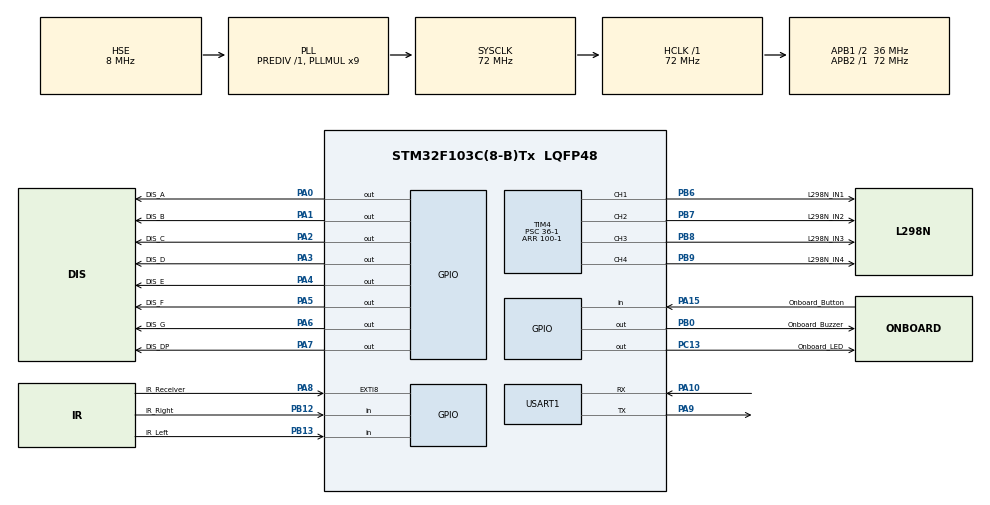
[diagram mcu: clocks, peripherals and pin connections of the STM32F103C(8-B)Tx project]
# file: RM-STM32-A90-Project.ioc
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Mcu.Family=STM32F1
Mcu.Name=STM32F103C(8-B)Tx
Mcu.Package=LQFP48
NVIC.EXTI9_5_IRQn=true\:0\:0\:false\:false\:true\:true\:true\:true
NVIC.PriorityGroup=NVIC_PRIORITYGROUP_4
PA0-WKUP.GPIO_Label=DIS_A
PA0-WKUP.PinState=GPIO_PIN_SET
PA0-WKUP.Signal=GPIO_Output
PA1.GPIO_Label=DIS_B
PA1.PinState=GPIO_PIN_SET
PA1.Signal=GPIO_Output
PA10.Mode=Asynchronous
PA10.Signal=USART1_RX
PA13.Mode=Serial_Wire
PA13.Signal=SYS_JTMS-SWDIO
PA14.Mode=Serial_Wire
PA14.Signal=SYS_JTCK-SWCLK
PA15.GPIO_Label=Onboard_Button
PA15.GPIO_PuPd=GPIO_PULLUP
PA15.Signal=GPIO_Input
PA2.GPIO_Label=DIS_C
PA2.PinState=GPIO_PIN_SET
PA2.Signal=GPIO_Output
PA3.GPIO_Label=DIS_D
PA3.PinState=GPIO_PIN_SET
PA3.Signal=GPIO_Output
PA4.GPIO_Label=DIS_E
PA4.PinState=GPIO_PIN_SET
PA4.Signal=GPIO_Output
PA5.GPIO_Label=DIS_F
PA5.PinState=GPIO_PIN_SET
PA5.Signal=GPIO_Output
PA6.GPIO_Label=DIS_G
PA6.PinState=GPIO_PIN_SET
PA6.Signal=GPIO_Output
PA7.GPIO_Label=DIS_DP
PA7.PinState=GPIO_PIN_SET
PA7.Signal=GPIO_Output
PA8.GPIO_Label=IR_Receiver
PA8.GPIO_ModeDefaultEXTI=GPIO_MODE_IT_RISING_FALLING
PA8.GPIO_PuPd=GPIO_PULLUP
PA8.Signal=GPXTI8
PA9.Mode=Asynchronous
PA9.Signal=USART1_TX
PB0.GPIO_Label=Onboard_Buzzer
PB0.PinState=GPIO_PIN_RESET
PB0.Signal=GPIO_Output
PB12.GPIO_Label=IR_Right
PB12.Signal=GPIO_Input
PB13.GPIO_Label=IR_Left
PB13.Signal=GPIO_Input
PB6.GPIO_Label=L298N_IN1
PB6.Signal=S_TIM4_CH1
PB7.GPIO_Label=L298N_IN2
PB7.Signal=S_TIM4_CH2
PB8.GPIO_Label=L298N_IN3
PB8.Signal=S_TIM4_CH3
PB9.GPIO_Label=L298N_IN4
PB9.Signal=S_TIM4_CH4
PC13-TAMPER-RTC.GPIO_Label=Onboard_LED
PC13-TAMPER-RTC.Signal=GPIO_Output
PD0-OSC_IN.Mode=HSE-External-Oscillator
PD0-OSC_IN.Signal=RCC_OSC_IN
PD1-OSC_OUT.Mode=HSE-External-Oscillator
PD1-OSC_OUT.Signal=RCC_OSC_OUT
ProjectManager.HeapSize=0x200
ProjectManager.StackSize=0x400
ProjectManager.TargetToolchain=STM32CubeIDE
RCC.AHBFreq_Value=72000000
RCC.APB1CLKDivider=RCC_HCLK_DIV2
RCC.APB1Freq_Value=36000000
RCC.APB1TimFreq_Value=72000000
RCC.APB2Freq_Value=72000000
RCC.APB2TimFreq_Value=72000000
RCC.HCLKFreq_Value=72000000
RCC.PLLMUL=RCC_PLL_MUL9
RCC.PLLSourceVirtual=RCC_PLLSOURCE_HSE
RCC.SYSCLKFreq_VALUE=72000000
RCC.SYSCLKSource=RCC_SYSCLKSOURCE_PLLCLK
RCC.USBFreq_Value=72000000
SH.S_TIM4_CH1.0=TIM4_CH1,PWM Generation1 CH1
SH.S_TIM4_CH2.0=TIM4_CH2,PWM Generation2 CH2
SH.S_TIM4_CH3.0=TIM4_CH3,PWM Generation3 CH3
SH.S_TIM4_CH4.0=TIM4_CH4,PWM Generation4 CH4
TIM2.Prescaler=72-1
TIM4.AutoReloadPreload=TIM_AUTORELOAD_PRELOAD_ENABLE
TIM4.Channel-PWM\ Generation1\ CH1=TIM_CHANNEL_1
TIM4.Channel-PWM\ Generation2\ CH2=TIM_CHANNEL_2
TIM4.Channel-PWM\ Generation3\ CH3=TIM_CHANNEL_3
TIM4.Channel-PWM\ Generation4\ CH4=TIM_CHANNEL_4
TIM4.Period=100-1
TIM4.Prescaler=36-1
USART1.VirtualMode=VM_ASYNC
VP_TIM2_VS_ClockSourceINT.Mode=Internal
board=custom

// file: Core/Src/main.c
/* USER CODE BEGIN Header */
/**
  ******************************************************************************
  * @file           : main.c
  * @brief          : RoboMaster User Code for Trial Run
  ******************************************************************************
  */
/* USER CODE END Header */
#include "main.h"
#include "tim.h"
#include "usart.h"
#include "gpio.h"

/* USER CODE BEGIN Includes */
#include <stdio.h>
#include "ir_nec.h"
/* USER CODE END Includes */

/* USER CODE BEGIN PTD */
// IR Remote State Definition
typedef enum
{
    MODE_LINE = 1,
    MODE_REMOTE,
    MODE_STOP
} ControlMode_t;

// Default for emergency_stop, stop when powerup
static ControlMode_t mode = MODE_STOP;
static uint8_t emergency_stop = 1;
/* USER CODE END PTD */

/* USER CODE BEGIN PD */
// IR Remote Code Definition
// Model: CMCC Smart Controller (universal)
#define IR_KEY_POWER   0x44BB3BC4UL
#define IR_KEY_MENU    0x44BB41BEUL
#define IR_KEY_LEFT    0x44BB9966UL
#define IR_KEY_UP      0x44BB53ACUL
#define IR_KEY_RIGHT   0x44BB837CUL
#define IR_KEY_ENTER   0x44BB738CUL
#define IR_KEY_DOWN    0x44BB4BB4UL
#define IR_KEY_1       0x44BB49B6UL
#define IR_KEY_2       0x44BBC936UL
#define IR_KEY_3       0x44BB33CCUL
/* USER CODE END PD */

/* USER CODE BEGIN PV */

/* 共阳数码管段码
 * Note: 这里起初按照项目要求设置了0~9，且奇数数字有右下角亮点，后续为调试增加至F */
static const uint8_t seg_table[16] =
{
    0xC0, // 0
    0xF9, // 1
    0xA4, // 2
    0xB0, // 3
    0x99, // 4
    0x92, // 5
    0x82, // 6
    0xF8, // 7
    0x80, // 8
    0x90, // 9
    0x88, // A
    0x83, // b
    0xC6, // C
    0xA1, // d
    0x86, // E
    0x8E, // F
};

/* 遥控安全超时：超过此时间没有收到红外信号就停车，单位毫秒 */
#define REMOTE_TIMEOUT_MS 200

static uint32_t remote_last_time = 0;
/* USER CODE END PV */

void SystemClock_Config(void);
/* USER CODE BEGIN PFP */
static void Motor_SetSpeed(int16_t right, int16_t left);
static void Line_Follow(void);
static void SEG_Display(uint8_t num);
/* USER CODE END PFP */

/* USER CODE BEGIN 0 */

/**
 * @brief 设置数码管显示
 */
static void SEG_Display(uint8_t num)
{
    if (num > 15)
        return;

    /* 共阳数码管：先全部熄灭 */
    HAL_GPIO_WritePin(
        GPIOA,
        GPIO_PIN_0 | GPIO_PIN_1 | GPIO_PIN_2 | GPIO_PIN_3 |
        GPIO_PIN_4 | GPIO_PIN_5 | GPIO_PIN_6 | GPIO_PIN_7,
        GPIO_PIN_SET
    );

    /* 点亮对应段 */
    uint8_t data = seg_table[num];

    for (uint8_t i = 0; i < 8; i++)
    {
        if (!(data & (1U << i)))
        {
            HAL_GPIO_WritePin(
                GPIOA,
                (GPIO_PIN_0 << i),
                GPIO_PIN_RESET
            );
        }
    }
}

/**
 * @brief 蜂鸣器开
 */
static void BUZZER_ON(void)
{
    HAL_GPIO_WritePin(
        Onboard_Buzzer_GPIO_Port,
        Onboard_Buzzer_Pin,
        GPIO_PIN_SET
    );
}

/**
 * @brief 蜂鸣器关
 */
static void BUZZER_OFF(void)
{
    HAL_GPIO_WritePin(
        Onboard_Buzzer_GPIO_Port,
        Onboard_Buzzer_Pin,
        GPIO_PIN_RESET
    );
}

/**
 * @brief 设置左右电机速度
 *
 * @param right 右轮速度，范围 -99 ~ 99
 * @param left  左轮速度，范围 -99 ~ 99
 *
 * 正值：正转
 * 负值：反转
 * 0：停止
 */
static void Motor_SetSpeed(int16_t right, int16_t left)
{
    /* 限制速度范围 */
    // Add by ChatGPT
    if (right > 99) right = 99;
    if (right < -99) right = -99;
    if (left > 99) left = 99;
    if (left < -99) left = -99;

    /* 右轮：TIM4 CH1 / CH2 */
    if (right >= 0)
    {
        __HAL_TIM_SET_COMPARE(&htim4, TIM_CHANNEL_1, right);
        __HAL_TIM_SET_COMPARE(&htim4, TIM_CHANNEL_2, 0);
    }
    else
    {
        __HAL_TIM_SET_COMPARE(&htim4, TIM_CHANNEL_1, 0);
        __HAL_TIM_SET_COMPARE(&htim4, TIM_CHANNEL_2, -right);
    }

    /* 左轮：TIM4 CH3 / CH4 */
    if (left >= 0)
    {
        __HAL_TIM_SET_COMPARE(&htim4, TIM_CHANNEL_3, left);
        __HAL_TIM_SET_COMPARE(&htim4, TIM_CHANNEL_4, 0);
    }
    else
    {
        __HAL_TIM_SET_COMPARE(&htim4, TIM_CHANNEL_3, 0);
        __HAL_TIM_SET_COMPARE(&htim4, TIM_CHANNEL_4, -left);
    }
}

/**
 * @brief 巡线控制
 *
 * 传感器逻辑：
 *   0 = 白
 *   1 = 黑
 *
 *       左 右
 * 白白  → 直行
 * 黑白  → 左转
 * 白黑  → 右转
 * 黑黑  → 保持当前状态
 * Note: 其实这里应该继续微调，但是现在先这样吧，14500坏了导致输出电压不稳，电机速度接着不稳，此时调整没意义
 */
static void Line_Follow(void)
{
    uint8_t left_black =
        (HAL_GPIO_ReadPin(IR_Left_GPIO_Port, IR_Left_Pin) == GPIO_PIN_SET);

    uint8_t right_black =
        (HAL_GPIO_ReadPin(IR_Right_GPIO_Port, IR_Right_Pin) == GPIO_PIN_SET);

    if (!left_black && !right_black)
    {
        /* 白白：直行 */
        BUZZER_OFF();
        SEG_Display(10); // A
        Motor_SetSpeed(60, 60);
    }
    else if (left_black && !right_black)
    {
        /* 黑白：向左修正 */
        BUZZER_ON();
        SEG_Display(11); // b
        Motor_SetSpeed(50, -20);
    }
    else if (!left_black && right_black)
    {
        /* 白黑：向右修正 */
        BUZZER_ON();
        SEG_Display(12); // C
        Motor_SetSpeed(-20, 50);
    }
    else
    {
        /* 黑黑：可能脱圈，尝试旋转寻回*测试* */
        BUZZER_OFF();
        SEG_Display(15); // F
        Motor_SetSpeed(50, -20);
    }
}

/**
 * @brief 红外中断响应回传
 *
 */
void HAL_GPIO_EXTI_Callback(uint16_t GPIO_Pin)
{
    if (GPIO_Pin == IR_PIN)
    {
        IR_HandleEXTI();
    }
}

/**
 * @brief 处理遥控器运动按键
 *
 * 每次收到方向键时刷新 remote_last_time。
 * 如果遥控器停止发送，主循环中的超时检测会自动停车。
 */
static void Remote_Move(int16_t right, int16_t left, uint8_t display)
{
    Motor_SetSpeed(right, left);
    SEG_Display(display);

    /* 收到有效运动指令，刷新遥控安全计时器 */
    remote_last_time = HAL_GetTick();
}

/** * @brief 红外接收帧处理 */
static void IR_ProcessKey(uint32_t key)
{
    static uint32_t last_power_time = 0;
    uint32_t now = HAL_GetTick();
    /* ========================= * 电源键：全局急停 * ========================= */
    if (key == IR_KEY_POWER)
    {
        // Take a static variable to handle special power button hit
        if (now - last_power_time < 250)
        {
            return; // long-press, ignore
        }
        last_power_time = now; // update tick
        // 切换状态值
        emergency_stop = !emergency_stop;
        if (emergency_stop)
        {
            /* 进入急停 */
            BUZZER_OFF();
            Motor_SetSpeed(0, 0);
            SEG_Display(13);
        }
        else
        {
            /* 解除急停，但不自动恢复运动 */
            Motor_SetSpeed(0, 0);
            remote_last_time = HAL_GetTick();
        }
        return;
    } /* 急停时屏蔽其他按键 */
    if (emergency_stop) return;
    /* ========================= * 模式选择 * ========================= */
    switch (key)
    {
    case IR_KEY_1: mode = MODE_LINE;
        Motor_SetSpeed(0, 0);
        SEG_Display(1);
        break;
    case IR_KEY_2: mode = MODE_REMOTE;
        BUZZER_OFF();
        Motor_SetSpeed(0, 0); /* 切换到遥控模式后，从停车状态开始计时 */
        remote_last_time = HAL_GetTick();
        SEG_Display(2);
        break;
    case IR_KEY_3: mode = MODE_STOP;
        BUZZER_OFF();
        Motor_SetSpeed(0, 0);
        SEG_Display(0);
        break;
    /* ========================= * 遥控运动 * =========================
     * 通过封装Remote_Move简化代码结构，参数分别为(左轮功率，右轮功率，段码显示 */
    case IR_KEY_UP: if (mode == MODE_REMOTE) { Remote_Move(80, 80, 8); }
        break;
    case IR_KEY_DOWN: if (mode == MODE_REMOTE) { Remote_Move(-80, -80, 6); }
        break;
    case IR_KEY_LEFT: if (mode == MODE_REMOTE) { Remote_Move(80, -80, 7); }
        break;
    case IR_KEY_RIGHT: if (mode == MODE_REMOTE) { Remote_Move(-80, 80, 9); }
        break;
    case IR_KEY_ENTER: if (mode == MODE_REMOTE) { Remote_Move(0, 0, 14); }
        break;
    /* ========================= * 测试功能 * ========================= */
    case IR_KEY_MENU: BUZZER_ON();
        HAL_Delay(50);
        BUZZER_OFF();
        break;
    default: break;
    }
}

//Status 0 For Display Self Test
static void SEG_SelfTest(void)
{
    static uint32_t last_tick = 0;
    static uint8_t digit = 0;

    if (HAL_GetTick() - last_tick >= 200)
    {
        last_tick = HAL_GetTick();

        SEG_Display(digit);

        digit++;

        if (digit > 15)
            digit = 0;
    }
}

/* USER CODE END 0 */

int main(void)
{

    /* MCU Configuration--------------------------------------------------------*/

    /* Reset of all peripherals, Initializes the Flash interface and the Systick. */
    HAL_Init();

    /* Configure the system clock */
    SystemClock_Config();

    /* Initialize all configured peripherals */
    MX_GPIO_Init();
    MX_TIM4_Init();
    MX_TIM2_Init();
    MX_USART1_UART_Init();
    /* USER CODE BEGIN 2 */
    IR_Init();
    // Already init TIM2 in IR_Init(), ignore.
    //HAL_TIM_Base_Start(&htim2);

    /* 启动 L298N PWM */
    HAL_TIM_PWM_Start(&htim4, TIM_CHANNEL_1);
    HAL_TIM_PWM_Start(&htim4, TIM_CHANNEL_2);
    HAL_TIM_PWM_Start(&htim4, TIM_CHANNEL_3);
    HAL_TIM_PWM_Start(&htim4, TIM_CHANNEL_4);

    /* 初始停止 */
    Motor_SetSpeed(0, 0);
    SEG_Display(13); // d
    /* USER CODE END 2 */

    /* Infinite loop */
    /* USER CODE BEGIN WHILE */
    while (1)
    {
        uint32_t key = IR_GetRawData();

        if (key != 0)
        {
            IR_ProcessKey(key);
            IR_ClearResult();
        }

        if (!emergency_stop)
        {
            switch (mode)
            {
            case MODE_LINE:
                Line_Follow();
                break;

            case MODE_REMOTE:
                /*
                 * 遥控安全超时
                 *
                 * 如果超过 REMOTE_TIMEOUT_MS 没有收到新的
                 * 遥控运动指令，则自动停车。
                 */
                if (HAL_GetTick() - remote_last_time >= REMOTE_TIMEOUT_MS)
                {
                    SEG_Display(14); // Show E as stop sign, different from that in other modes.
                    Motor_SetSpeed(0, 0);
                }
                break;

            case MODE_STOP:
                Motor_SetSpeed(0, 0);
                SEG_SelfTest();
                break;

            default:
                mode = MODE_STOP;
                Motor_SetSpeed(0, 0);
                break;
            }
        }
        else
        {
            /* 急停状态：无条件关闭电机 */
            Motor_SetSpeed(0, 0);
        }

        HAL_Delay(1);
        /* USER CODE END WHILE */

    }
}

void SystemClock_Config(void)
{
    RCC_OscInitTypeDef RCC_OscInitStruct = {0};
    RCC_ClkInitTypeDef RCC_ClkInitStruct = {0};

    /** Initializes the RCC Oscillators according to the specified parameters
    * in the RCC_OscInitTypeDef structure.
    */
    RCC_OscInitStruct.OscillatorType = RCC_OSCILLATORTYPE_HSE;
    RCC_OscInitStruct.HSEState = RCC_HSE_ON;
    RCC_OscInitStruct.HSEPredivValue = RCC_HSE_PREDIV_DIV1;
    RCC_OscInitStruct.HSIState = RCC_HSI_ON;
    RCC_OscInitStruct.PLL.PLLState = RCC_PLL_ON;
    RCC_OscInitStruct.PLL.PLLSource = RCC_PLLSOURCE_HSE;
    RCC_OscInitStruct.PLL.PLLMUL = RCC_PLL_MUL9;
    if (HAL_RCC_OscConfig(&RCC_OscInitStruct) != HAL_OK)
    {
        Error_Handler();
    }

    /** Initializes the CPU, AHB and APB buses clocks
    */
    RCC_ClkInitStruct.ClockType = RCC_CLOCKTYPE_HCLK | RCC_CLOCKTYPE_SYSCLK
        | RCC_CLOCKTYPE_PCLK1 | RCC_CLOCKTYPE_PCLK2;
    RCC_ClkInitStruct.SYSCLKSource = RCC_SYSCLKSOURCE_PLLCLK;
    RCC_ClkInitStruct.AHBCLKDivider = RCC_SYSCLK_DIV1;
    RCC_ClkInitStruct.APB1CLKDivider = RCC_HCLK_DIV2;
    RCC_ClkInitStruct.APB2CLKDivider = RCC_HCLK_DIV1;

    if (HAL_RCC_ClockConfig(&RCC_ClkInitStruct, FLASH_LATENCY_2) != HAL_OK)
    {
        Error_Handler();
    }
}

/* USER CODE BEGIN 4 */
#include <stdio.h>
#ifdef __GNUC__
int _write(int file, char* ptr, int len)
{
    HAL_UART_Transmit(&huart1, (uint8_t*)ptr, len, HAL_MAX_DELAY);
    return len;
}
#else
int fputc(int ch, FILE* f)
{
    HAL_UART_Transmit(&huart1, (uint8_t*)&ch, 1, HAL_MAX_DELAY);
    return ch;
}
#endif
/* USER CODE END 4 */

void Error_Handler(void)
{
    __disable_irq();
    while (1)
    {
    }
}
